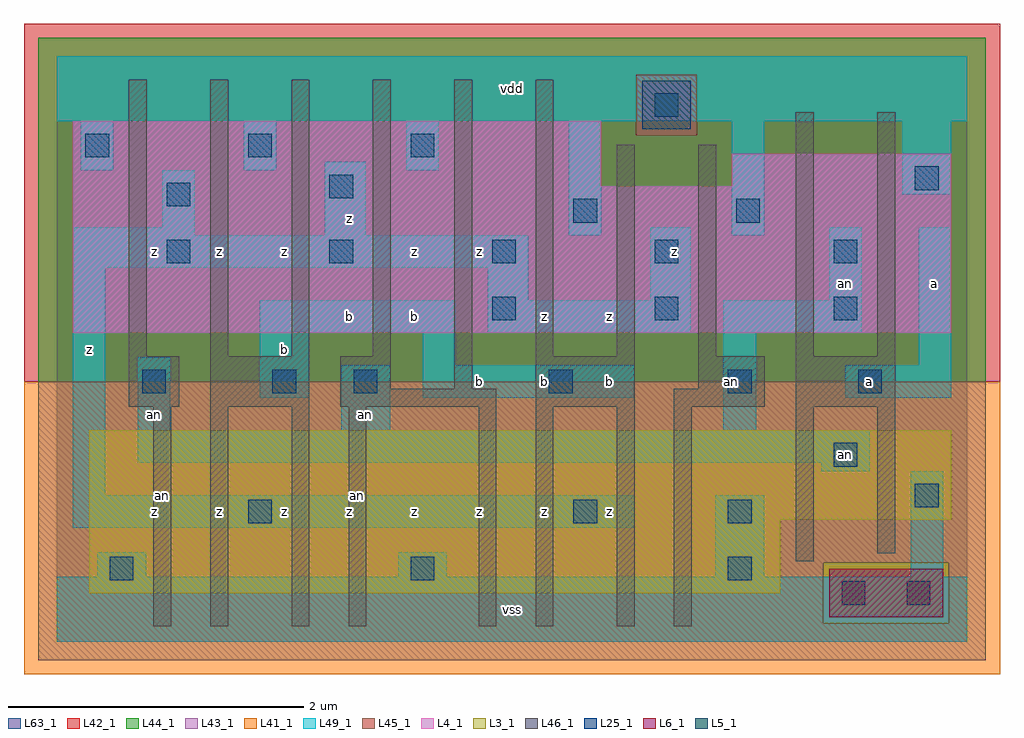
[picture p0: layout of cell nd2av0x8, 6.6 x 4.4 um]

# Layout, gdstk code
import gdstk
lib = gdstk.Library(unit=1e-6, precision=1e-09)
def R(c, l, rs):  # rectangles x0, y0, x1, y1
    for r in rs: c.add(gdstk.rectangle(r[:2], r[2:], *l))
def A(c, l, x, y, w, h, nx, ny, dx, dy):  # array of equal rectangles
    R(c, l, [(x+i*dx, y+j*dy, x+i*dx+w, y+j*dy+h) for i in range(nx) for j in range(ny)])
L3_1 = (3, 1)
L4_1 = (4, 1)
L5_1 = (5, 1)
L6_1 = (6, 1)
L25_1 = (25, 1)
L41_1 = (41, 1)
L42_1 = (42, 1)
L43_1 = (43, 1)
L44_1 = (44, 1)
L45_1 = (45, 1)
L46_1 = (46, 1)
L49_1 = (49, 1)
L63_1 = (63, 1)

nd2av0x8 = lib.new_cell('nd2av0x8')
R(nd2av0x8, L3_1, [(0.22,0.33,4.895,0.825), (0.22,0.825,6.05,1.43)])
R(nd2av0x8, L4_1, [(0.11,2.09,6.05,3.08), (0.11,3.08,3.685,3.52), (4.565,3.08,6.05,3.3)])
R(nd2av0x8, L5_1, [(3.96,3.465,4.29,3.795)])
R(nd2av0x8, L6_1, [(5.225,0.165,5.995,0.495)])
A(nd2av0x8, L25_1, 0.745, 2.56, 0.16, 0.16, 4, 1, 1.1, 0)
A(nd2av0x8, L25_1, 0.195, 3.275, 0.16, 0.16, 3, 1, 1.1, 0)
R(nd2av0x8, L25_1, [(5.31,0.25,5.47,0.41), (5.75,0.25,5.91,0.41), (0.36,0.415,0.52,0.575), (2.395,0.415,2.555,0.575), (4.54,0.415,4.7,0.575), (1.295,0.8,1.455,0.96), (3.495,0.8,3.655,0.96), (4.54,0.8,4.7,0.96), (5.805,0.91,5.965,1.07), (5.255,1.185,5.415,1.345), (0.58,1.68,0.74,1.84), (1.46,1.68,1.62,1.84), (2.01,1.68,2.17,1.84), (3.33,1.68,3.49,1.84), (4.54,1.68,4.7,1.84), (5.42,1.68,5.58,1.84), (2.945,2.175,3.105,2.335), (4.045,2.175,4.205,2.335), (5.255,2.175,5.415,2.335), (5.255,2.56,5.415,2.72), (3.495,2.835,3.655,2.995), (4.595,2.835,4.755,2.995), (0.745,2.945,0.905,3.105), (1.845,3,2.005,3.16), (5.805,3.055,5.965,3.215), (4.045,3.55,4.205,3.71)])
R(nd2av0x8, L41_1, [(-0.22,-0.22,6.38,1.76)])
R(nd2av0x8, L42_1, [(-0.22,1.76,6.38,4.18)])
R(nd2av0x8, L43_1, [(5.225,0.165,5.995,0.495), (0.22,0.33,4.895,0.825), (0.22,0.825,6.05,1.43), (0.11,2.09,6.05,3.08), (0.11,3.08,3.685,3.52), (4.565,3.08,6.05,3.3), (3.96,3.465,4.29,3.795)])
R(nd2av0x8, L44_1, [(5.185,0.125,6.035,0.535), (-0.125,1.76,6.285,3.425), (-0.125,3.425,3.92,3.835), (4.33,3.425,6.285,3.835), (-0.125,3.835,6.285,4.085)])
R(nd2av0x8, L45_1, [(-0.125,-0.125,6.285,0.125), (-0.125,0.125,5.185,0.535), (6.035,0.125,6.285,0.535), (-0.125,0.535,6.285,1.76), (3.92,3.425,4.33,3.835)])
A(nd2av0x8, L46_1, 0.49, 1.93, 0.12, 1.87, 4, 1, 0.55, 0)
R(nd2av0x8, L46_1, [(0.655,0.105,0.775,1.59), (1.04,0.105,1.16,1.59), (1.59,0.105,1.71,1.59), (1.975,0.105,2.095,1.59), (2.855,0.105,2.975,1.59), (3.24,0.105,3.36,1.59), (3.79,0.105,3.91,1.59), (4.175,0.105,4.295,1.59), (5,0.545,5.12,1.59), (5.55,0.6,5.67,1.59), (0.49,1.59,0.83,1.93), (1.04,1.59,1.71,1.93), (1.92,1.59,2.975,1.71), (3.24,1.59,3.91,1.93), (4.175,1.59,4.79,1.71), (5,1.59,5.67,1.93), (1.92,1.71,2.26,1.93), (2.69,1.71,2.81,3.8), (4.34,1.71,4.79,1.93), (3.24,1.93,3.36,3.8), (3.79,1.93,3.91,3.36), (4.34,1.93,4.46,3.36), (5,1.93,5.12,3.58), (5.55,1.93,5.67,3.58)])
A(nd2av0x8, L49_1, 0.165, 3.19, 0.22, 0.33, 3, 1, 1.1, 0)
R(nd2av0x8, L49_1, [(0,0,6.16,0.44), (0.275,0.44,0.605,0.605), (2.31,0.44,2.64,0.605), (4.455,0.44,4.785,0.99), (5.775,0.44,5.995,1.155), (0.11,0.77,3.905,0.99), (0.11,0.99,0.33,2.53), (5.17,1.155,5.5,1.21), (0.55,1.21,5.5,1.43), (0.55,1.43,0.77,1.925), (1.925,1.43,2.255,1.87), (4.51,1.43,4.73,2.09), (1.375,1.65,1.705,2.09), (2.475,1.65,3.905,1.87), (5.335,1.65,6.05,1.87), (2.475,1.87,2.695,2.09), (5.83,1.87,6.05,2.805), (1.375,2.09,2.695,2.31), (2.915,2.09,4.29,2.31), (4.51,2.09,5.445,2.31), (2.915,2.31,3.19,2.53), (4.015,2.31,4.29,2.805), (5.225,2.31,5.445,2.805), (0.11,2.53,3.19,2.75), (0.11,2.75,0.935,2.805), (1.815,2.75,2.09,3.245), (3.465,2.75,3.685,3.52), (4.565,2.75,4.785,3.52), (0.715,2.805,0.935,3.19), (5.72,3.025,6.05,3.52), (0,3.52,6.16,3.96)])
R(nd2av0x8, L63_1, [(0,0,6.16,3.96)])
nd2av0x8.add(gdstk.Label('an', (0.715,0.99), layer=46, texttype=1))
nd2av0x8.add(gdstk.Label('an', (2.035,0.99), layer=46, texttype=1))
nd2av0x8.add(gdstk.Label('an', (4.565,1.76), layer=49, texttype=1))
nd2av0x8.add(gdstk.Label('z', (0.66,0.88), layer=49, texttype=1))
nd2av0x8.add(gdstk.Label('an', (0.66,1.54), layer=49, texttype=1))
nd2av0x8.add(gdstk.Label('z', (0.22,1.98), layer=49, texttype=1))
nd2av0x8.add(gdstk.Label('z', (0.66,2.64), layer=49, texttype=1))
nd2av0x8.add(gdstk.Label('z', (1.54,0.88), layer=49, texttype=1))
nd2av0x8.add(gdstk.Label('z', (1.98,0.88), layer=49, texttype=1))
nd2av0x8.add(gdstk.Label('z', (1.1,0.88), layer=49, texttype=1))
nd2av0x8.add(gdstk.Label('an', (2.09,1.54), layer=49, texttype=1))
nd2av0x8.add(gdstk.Label('b', (1.98,2.2), layer=49, texttype=1))
nd2av0x8.add(gdstk.Label('b', (1.54,1.98), layer=49, texttype=1))
nd2av0x8.add(gdstk.Label('z', (1.1,2.64), layer=49, texttype=1))
nd2av0x8.add(gdstk.Label('z', (1.98,2.86), layer=49, texttype=1))
nd2av0x8.add(gdstk.Label('z', (1.54,2.64), layer=49, texttype=1))
nd2av0x8.add(gdstk.Label('vss', (3.08,0.22), layer=49, texttype=1))
nd2av0x8.add(gdstk.Label('z', (2.86,0.88), layer=49, texttype=1))
nd2av0x8.add(gdstk.Label('z', (3.3,0.88), layer=49, texttype=1))
nd2av0x8.add(gdstk.Label('z', (2.42,0.88), layer=49, texttype=1))
nd2av0x8.add(gdstk.Label('b', (2.86,1.76), layer=49, texttype=1))
nd2av0x8.add(gdstk.Label('b', (3.3,1.76), layer=49, texttype=1))
nd2av0x8.add(gdstk.Label('b', (2.42,2.2), layer=49, texttype=1))
nd2av0x8.add(gdstk.Label('z', (3.3,2.2), layer=49, texttype=1))
nd2av0x8.add(gdstk.Label('z', (2.42,2.64), layer=49, texttype=1))
nd2av0x8.add(gdstk.Label('z', (2.86,2.64), layer=49, texttype=1))
nd2av0x8.add(gdstk.Label('vdd', (3.08,3.74), layer=49, texttype=1))
nd2av0x8.add(gdstk.Label('z', (3.74,0.88), layer=49, texttype=1))
nd2av0x8.add(gdstk.Label('an', (4.62,1.76), layer=49, texttype=1))
nd2av0x8.add(gdstk.Label('b', (3.74,1.76), layer=49, texttype=1))
nd2av0x8.add(gdstk.Label('z', (3.74,2.2), layer=49, texttype=1))
nd2av0x8.add(gdstk.Label('z', (4.18,2.64), layer=49, texttype=1))
nd2av0x8.add(gdstk.Label('an', (5.335,1.265), layer=49, texttype=1))
nd2av0x8.add(gdstk.Label('a', (5.5,1.76), layer=49, texttype=1))
nd2av0x8.add(gdstk.Label('a', (5.94,2.42), layer=49, texttype=1))
nd2av0x8.add(gdstk.Label('an', (5.335,2.42), layer=49, texttype=1))

lib.write_gds('nd2av0x8.gds')
